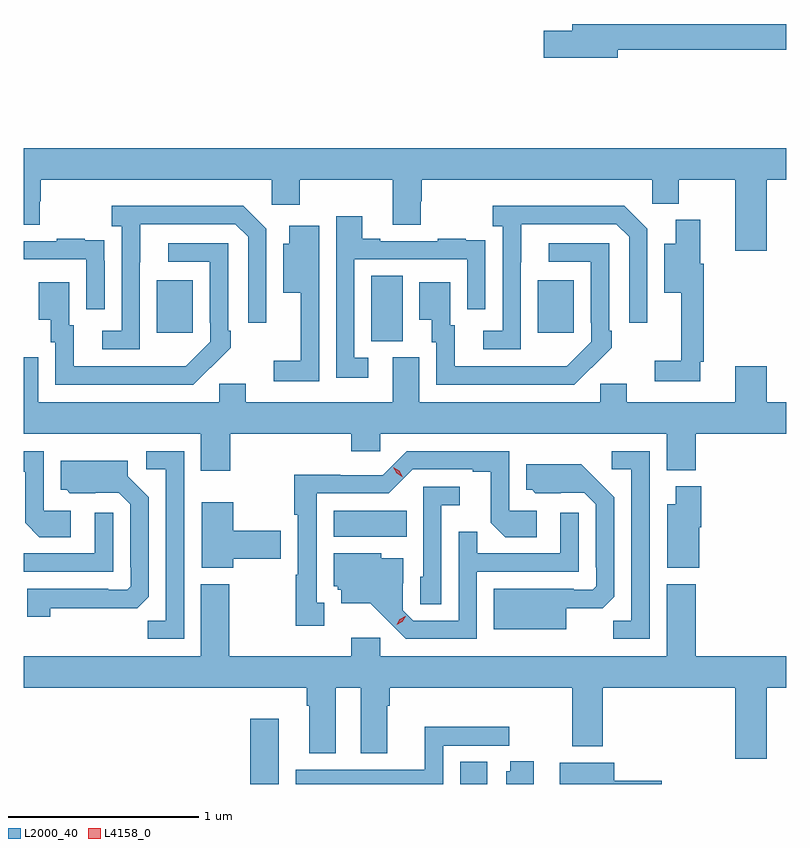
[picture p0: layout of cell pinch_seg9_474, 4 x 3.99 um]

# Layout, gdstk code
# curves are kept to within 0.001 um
import gdstk
lib = gdstk.Library(unit=1e-6, precision=1e-09)
def R(c, l, rs):  # rectangles x0, y0, x1, y1
    for r in rs: c.add(gdstk.rectangle(r[:2], r[2:], *l))
def P(c, l, *ps):  # polygons
    for p in ps: c.add(gdstk.Polygon(p, *l))
L2000_40 = (2000, 40)
L4158_0 = (4158, 0)

pinch_seg9_474 = lib.new_cell('pinch_seg9_474')
R(pinch_seg9_474, L2000_40, [(294.332,1201.242,294.481,1201.585), (295.433,1201.242,295.576,1201.358), (294.77,1202.54,295.154,1202.674), (294.968,1203.565,295.132,1203.908), (293.843,1203.609,294.031,1203.883), (295.841,1203.609,296.029,1203.883)])
P(pinch_seg9_474, L2000_40, [(296.26,1205.092),(297.144,1205.092),(297.144,1205.228),(296.021,1205.228),(296.021,1205.192),(295.872,1205.192),(295.872,1205.05),(296.26,1205.05)],
  [(297.04,1204.412),(297.144,1204.412),(297.144,1204.576),(293.144,1204.576),(293.144,1204.174),(293.229,1204.174),(293.229,1204.299),(293.234,1204.299),(293.234,1204.412),(294.444,1204.412),(294.444,1204.281),(294.591,1204.281),(294.591,1204.412),(295.079,1204.412),(295.079,1204.174),(295.227,1204.174),(295.227,1204.299),(295.232,1204.299),(295.232,1204.412),(296.442,1204.412),(296.442,1204.286),(296.581,1204.286),(296.581,1204.412),(296.876,1204.412),(296.876,1204.038),(297.04,1204.038)],
  [(295.752,1203.979),(295.753,1204.179),(296.253,1204.179),(296.319,1204.113),(296.319,1203.66),(296.415,1203.66),(296.415,1204.155),(296.294,1204.276),(295.605,1204.276),(295.605,1204.166),(295.656,1204.166),(295.656,1203.618),(295.554,1203.618),(295.554,1203.522),(295.752,1203.522)],
  [(293.754,1203.979),(293.755,1204.179),(294.255,1204.179),(294.321,1204.113),(294.321,1203.66),(294.417,1203.66),(294.417,1204.155),(294.296,1204.276),(293.607,1204.276),(293.607,1204.166),(293.658,1204.166),(293.658,1203.618),(293.556,1203.618),(293.556,1203.522),(293.754,1203.522)],
  [(294.952,1203.477),(294.879,1203.477),(294.879,1203.993),(295.47,1203.993),(295.47,1203.732),(295.566,1203.732),(295.566,1203.986),(295.565,1203.986),(295.565,1204.095),(295.463,1204.095),(295.463,1204.102),(295.315,1204.102),(295.315,1204.089),(295.015,1204.089),(295.015,1204.102),(294.919,1204.102),(294.919,1204.219),(294.783,1204.219),(294.783,1203.372),(294.952,1203.372)],
  [(296.693,1203.457),(296.711,1203.457),(296.711,1203.971),(296.692,1203.971),(296.692,1204.201),(296.564,1204.201),(296.564,1204.075),(296.504,1204.075),(296.504,1203.818),(296.594,1203.818),(296.594,1203.463),(296.454,1203.463),(296.454,1203.354),(296.693,1203.354)],
  [(294.693,1203.922),(294.694,1203.922),(294.694,1204.171),(294.536,1204.171),(294.536,1204.075),(294.506,1204.075),(294.506,1203.818),(294.596,1203.818),(294.596,1203.463),(294.456,1203.463),(294.456,1203.354),(294.693,1203.354)],
  [(293.568,1203.986),(293.567,1203.986),(293.567,1204.095),(293.465,1204.095),(293.465,1204.102),(293.317,1204.102),(293.317,1204.089),(293.144,1204.089),(293.144,1203.993),(293.472,1203.993),(293.472,1203.732),(293.568,1203.732)],
  [(294.125,1203.427),(294.126,1203.426),(294.231,1203.531),(294.231,1203.619),(294.216,1203.619),(294.216,1204.077),(293.901,1204.077),(293.901,1203.981),(294.12,1203.981),(294.12,1203.661),(294.123,1203.661),(294.123,1203.561),(293.995,1203.433),(293.407,1203.432),(293.407,1203.648),(293.383,1203.648),(293.383,1203.874),(293.222,1203.874),(293.222,1203.677),(293.285,1203.677),(293.285,1203.558),(293.31,1203.558),(293.31,1203.336),(294.034,1203.336)],
  [(296.123,1203.427),(296.124,1203.426),(296.229,1203.531),(296.229,1203.619),(296.214,1203.619),(296.214,1204.077),(295.899,1204.077),(295.899,1203.981),(296.118,1203.981),(296.118,1203.661),(296.121,1203.661),(296.121,1203.561),(295.993,1203.433),(295.405,1203.432),(295.405,1203.648),(295.381,1203.648),(295.381,1203.874),(295.22,1203.874),(295.22,1203.677),(295.283,1203.677),(295.283,1203.558),(295.308,1203.558),(295.308,1203.336),(296.032,1203.336)],
  [(294.227,1203.08),(294.863,1203.08),(294.863,1202.987),(295.014,1202.987),(295.014,1203.08),(296.516,1203.08),(296.516,1202.888),(296.669,1202.888),(296.669,1203.08),(297.144,1203.08),(297.144,1203.244),(297.04,1203.244),(297.04,1203.433),(296.876,1203.433),(296.876,1203.244),(296.308,1203.244),(296.308,1203.342),(296.169,1203.342),(296.169,1203.244),(295.219,1203.244),(295.219,1203.48),(295.079,1203.48),(295.079,1203.244),(294.31,1203.244),(294.31,1203.342),(294.171,1203.342),(294.171,1203.244),(293.221,1203.244),(293.221,1203.48),(293.144,1203.48),(293.144,1203.08),(294.074,1203.08),(294.074,1202.886),(294.227,1202.886)],
  [(293.392,1202.676),(293.25,1202.676),(293.25,1202.988),(293.144,1202.988),(293.144,1202.88),(293.151,1202.88),(293.151,1202.612),(293.227,1202.536),(293.392,1202.536)],
  [(294.721,1202.193),(294.682,1202.193),(294.682,1202.766),(295.059,1202.766),(295.185,1202.892),(295.499,1202.892),(295.499,1202.88),(295.593,1202.88),(295.593,1202.612),(295.669,1202.536),(295.834,1202.536),(295.834,1202.676),(295.692,1202.676),(295.692,1202.988),(295.152,1202.988),(295.026,1202.862),(294.804,1202.862),(294.804,1202.864),(294.564,1202.864),(294.564,1202.653),(294.581,1202.653),(294.581,1202.339),(294.571,1202.339),(294.571,1202.073),(294.721,1202.073)],
  [(296.427,1202.988),(296.229,1202.988),(296.229,1202.892),(296.331,1202.892),(296.331,1202.099),(296.236,1202.099),(296.236,1202.004),(296.427,1202.004)],
  [(293.985,1202.988),(293.787,1202.988),(293.787,1202.892),(293.889,1202.892),(293.889,1202.099),(293.794,1202.099),(293.794,1202.004),(293.985,1202.004)],
  [(293.283,1202.164),(293.74,1202.165),(293.799,1202.224),(293.799,1202.746),(293.689,1202.856),(293.689,1202.938),(293.339,1202.938),(293.339,1202.784),(293.37,1202.784),(293.386,1202.768),(293.643,1202.769),(293.703,1202.709),(293.703,1202.38),(293.706,1202.38),(293.706,1202.28),(293.688,1202.262),(293.588,1202.262),(293.588,1202.265),(293.164,1202.265),(293.164,1202.118),(293.283,1202.118)],
  [(295.99,1202.165),(296.182,1202.165),(296.241,1202.224),(296.241,1202.746),(296.069,1202.92),(295.781,1202.92),(295.781,1202.784),(295.812,1202.784),(295.828,1202.768),(296.085,1202.769),(296.145,1202.709),(296.145,1202.38),(296.148,1202.38),(296.148,1202.28),(296.13,1202.262),(296.03,1202.262),(296.03,1202.266),(295.61,1202.266),(295.61,1202.054),(295.99,1202.054)],
  [(296.686,1202.589),(296.699,1202.589),(296.699,1202.803),(296.564,1202.803),(296.564,1202.71),(296.519,1202.71),(296.519,1202.375),(296.686,1202.375)],
  [(295.335,1202.705),(295.432,1202.705),(295.432,1202.802),(295.239,1202.802),(295.239,1202.328),(295.224,1202.328),(295.224,1202.185),(295.335,1202.185)],
  [(294.244,1202.423),(294.493,1202.423),(294.493,1202.57),(294.244,1202.57),(294.244,1202.719),(294.077,1202.719),(294.077,1202.375),(294.244,1202.375)],
  [(293.613,1202.665),(293.517,1202.665),(293.517,1202.451),(293.144,1202.451),(293.144,1202.355),(293.613,1202.355)],
  [(295.521,1202.355),(296.055,1202.355),(296.055,1202.665),(295.959,1202.665),(295.959,1202.451),(295.523,1202.451),(295.523,1202.564),(295.425,1202.564),(295.425,1202.097),(295.188,1202.097),(295.131,1202.154),(295.131,1202.296),(295.135,1202.296),(295.135,1202.425),(295.02,1202.425),(295.02,1202.452),(294.77,1202.452),(294.77,1202.28),(294.792,1202.28),(294.792,1202.262),(294.809,1202.262),(294.809,1202.189),(294.961,1202.189),(295.148,1202.004),(295.521,1202.004)],
  [(297.04,1201.748),(297.144,1201.748),(297.144,1201.912),(296.669,1201.912),(296.669,1202.29),(296.516,1202.29),(296.516,1201.912),(295.014,1201.912),(295.014,1202.008),(294.863,1202.008),(294.863,1201.912),(294.222,1201.912),(294.222,1202.29),(294.074,1202.29),(294.074,1201.912),(293.144,1201.912),(293.144,1201.748),(294.629,1201.748),(294.629,1201.652),(294.641,1201.652),(294.641,1201.403),(294.781,1201.403),(294.781,1201.748),(294.911,1201.748),(294.911,1201.403),(295.051,1201.403),(295.051,1201.652),(295.064,1201.652),(295.064,1201.748),(296.02,1201.748),(296.02,1201.439),(296.18,1201.439),(296.18,1201.748),(296.876,1201.748),(296.876,1201.374),(297.04,1201.374)],
  [(295.345,1201.443),(295.69,1201.443),(295.69,1201.541),(295.247,1201.541),(295.247,1201.318),(294.57,1201.318),(294.57,1201.242),(295.345,1201.242)],
  [(295.819,1201.362),(295.697,1201.362),(295.697,1201.308),(295.676,1201.308),(295.676,1201.242),(295.819,1201.242)],
  [(296.491,1201.259),(296.242,1201.259),(296.242,1201.354),(295.955,1201.354),(295.955,1201.242),(296.491,1201.242)])
P(pinch_seg9_474, L4158_0, [(295.1,1202.076),(295.1,1202.076),(295.116,1202.106),(295.146,1202.122),(295.147,1202.122),(295.147,1202.121),(295.13,1202.092),(295.1,1202.076)],
  [(295.131,1202.852),(295.1,1202.871),(295.082,1202.904),(295.082,1202.904),(295.083,1202.904),(295.114,1202.885),(295.132,1202.852),(295.132,1202.852)])

lib.write_gds('pinch_seg9_474.gds')
